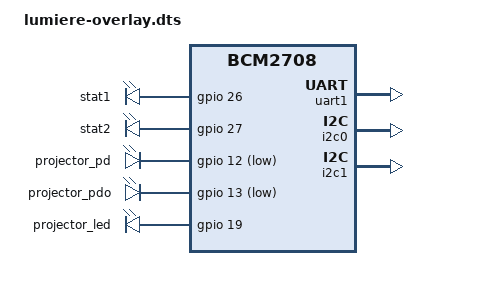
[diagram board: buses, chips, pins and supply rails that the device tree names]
/dts-v1/;
/plugin/;

/{
	compatible = "brcm,bcm2708";


    fragment@0 {
        target = <&leds>;
        __overlay__ {
            status = "okay";
            pinctrl-names = "default";
            pinctrl-0 = <&lumiere_pins>;

            stat1_led: stat1 {
                label = "stat1";
                gpios = <&gpio 26 0>;
                default-state = "off";
            };

            stat2_led: stat2 {
                label = "stat2";
                gpios = <&gpio 27 0>;
                default-state = "off";
            };

            projector_pd: pd {
                label = "projector_pd";
                gpios = <&gpio 12 1>;
                default-state = "on";
            };

            projector_pdo: pdo {
                label = "projector_pdo";
                gpios = <&gpio 13 1>;
                default-state = "on";
            };

            projector_led: pled {
                label = "projector_led";
                gpios = <&gpio 19 0>;
                default-state = "off";
            };
        };
    };

	fragment@1 {
		target = <&gpio>;
		__overlay__ {
			lumiere_pins: lumiere_pins {
				brcm,pins = <12 13 19 26 27>;
				brcm,function = <1 1 1 1 1>; /* out */
				brcm,pull = <0 0 0 2 2>; /* off */
			};
		};
	};

   	fragment@2 {
		target = <&uart1>;
		__overlay__ {
			pinctrl-names = "default";
			pinctrl-0 = <&uart1_pins>;
			status = "okay";
		};
	};

	fragment@3 {
		target = <&gpio>;
		__overlay__ {
			uart1_pins: uart1_pins {
				brcm,pins = <40 41>;
				brcm,function = <2>; /* alt5 */
				brcm,pull = <0 2>;
			};
		};
	};

	fragment@4 {
		target-path = "/chosen";
		__overlay__ {
			bootargs = "8250.nr_uarts=1";
		};
	};

    fragment@5 {
        target = <&i2c0_pins>;
        __overlay__ {
            brcm,pins = <44 45>;
            brcm,function = <5>;
        };
    };

    fragment@6 {
        target = <&i2c0>;
        __overlay__ {
            status = "okay";
        };
    };

    fragment@7 {
        target = <&i2c1>;
        __overlay__ {
            status = "okay";
        };
    };

/*
	fragment@2 {
		target = <&spi0>;
		__overlay__ {
            status = "disabled";
            #address-cells = <1>;
            #size-cells = <0>;

 			spidev@0{
				status = "disabled";
			};

			spidev@1{
				status = "disabled";
			};

            sd0 {
                    reg = <0>;
                    compatible = "bcm2835-spi,mmc_spi";
                    voltage-ranges = <3000 3300>;
                    gpios = <&gpio 6 0>;
                    spi-max-frequency = <400000>;
                    cd-inverted;
                    status = "disabled";
            };
		};
	};
*/

	__overrides__ {
		pd =  <&projector_pd>,"default-state";
		pdo =  <&projector_pdo>,"default-state";
		led =  <&projector_led>,"default-state";
		stat1 =  <&stat1_led>,"default-state";
		stat2 =  <&stat2_led>,"default-state";
		txd1_pin = <&uart1_pins>,"brcm,pins:0";
		rxd1_pin = <&uart1_pins>,"brcm,pins:4";
		i2c0 = <&i2c0>,"status";
		i2c1 = <&i2c1>,"status";
	};
};
